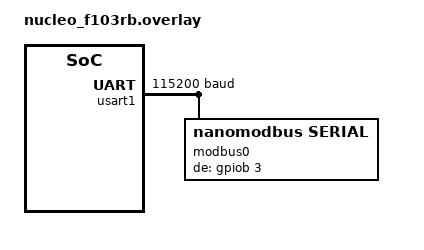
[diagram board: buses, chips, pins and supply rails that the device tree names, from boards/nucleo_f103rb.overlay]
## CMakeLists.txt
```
cmake_minimum_required(VERSION 3.20.0)

list(APPEND ZEPHYR_EXTRA_MODULES ${CMAKE_CURRENT_SOURCE_DIR}/../..)

find_package(Zephyr REQUIRED HINTS $ENV{ZEPHYR_BASE})
project(nanomodbus_server_rtu)
target_sources(app PRIVATE src/main.c)
```

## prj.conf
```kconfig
CONFIG_NANOMODBUS=y
CONFIG_NANOMODBUS_SERVER=y
CONFIG_NANOMODBUS_SERVER_RTU=y
CONFIG_NANOMODBUS_TRANSPORT_SERIAL=y
CONFIG_SERIAL=y
CONFIG_GPIO=y
CONFIG_LOG=y
CONFIG_SHELL=y
CONFIG_SHELL_BACKENDS=y
CONFIG_SHELL_BACKEND_SERIAL=y
CONFIG_NANOMODBUS_SHELL=y
```

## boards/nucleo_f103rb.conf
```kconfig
# Copyright (c) 2026 nanoMODBUS Contributors
# SPDX-License-Identifier: MIT

# The STM32F1 UART nodes expose no DMA channels, so the asynchronous receive
# path is unavailable and the server runs on interrupt-driven reception. There
# is no data cache on Cortex-M3 either, so none of the H743 DMA settings apply.
CONFIG_UART_INTERRUPT_DRIVEN=y
CONFIG_UART_USE_RUNTIME_CONFIGURE=y
```

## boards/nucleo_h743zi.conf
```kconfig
# Copyright (c) 2026 nanoMODBUS Contributors
# SPDX-License-Identifier: MIT

CONFIG_UART_INTERRUPT_DRIVEN=y
CONFIG_UART_ASYNC_API=y
CONFIG_UART_USE_RUNTIME_CONFIGURE=y

# The asynchronous RX buffers live in the transport structure (.bss). The STM32
# UART driver rejects DMA buffers that are not in a non-cacheable region, so
# disable the data cache here to exercise the DMA receive path. Set this back to
# y and let select_rx_mode() fall back to IRQ reception if the application must
# keep the cache enabled.
CONFIG_DCACHE=n
```

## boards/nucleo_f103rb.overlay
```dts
/*
 * Copyright (c) 2026 nanoMODBUS Contributors
 * SPDX-License-Identifier: MIT
 *
 * USART1 is the Modbus RTU bus on PA9 (TX) / PA10 (RX). This board devicetree
 * already muxes those pins at 115200, and it keeps the console and the shell
 * backend on USART2 (PA2/PA3), the ST-LINK virtual COM port, so the two do not
 * conflict. Only the Modbus child node has to be added here.
 *
 * PB3 drives the RS-485 transceiver RE/DE pin in software GPIO mode.
 * Because RE (active-low) and DE (active-high) are tied together on this
 * transceiver, a single active-high GPIO acts as both: high = TX, low = RX.
 *
 * PB3 is JTDO out of reset, so it cannot act as a GPIO while the full SWJ
 * configuration is selected. "jtag-disable" writes SWJ_CFG = 010, which
 * releases PB3, PB4 and PA15 while keeping SWD (PA13/PA14) available for
 * flashing and debugging.
 *
 * The STM32F1 UART nodes expose no DMA channels, so reception is explicitly
 * interrupt driven instead of the asynchronous path used on the H743.
 */

/ {
	aliases {
		modbus-uart = &usart1;
		modbus0 = &modbus0;
	};
};

&pinctrl {
	swj-cfg = "jtag-disable";
};

&usart1 {
	current-speed = <115200>;
	status = "okay";

	modbus0: modbus0 {
		compatible = "nanomodbus,serial";
		status = "okay";
		#address-cells = <1>;
		#size-cells = <0>;
		de-gpios = <&gpiob 3 GPIO_ACTIVE_HIGH>;
		de-mode = "auto";
		rx-mode = "irq";

		server_node: slave@1 {
			reg = <1>;
		};
	};
};
```

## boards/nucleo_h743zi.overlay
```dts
/*
 * Copyright (c) 2026 nanoMODBUS Contributors
 * SPDX-License-Identifier: MIT
 *
 * USART2 on the Nucleo-H743ZI is wired to the ST-LINK virtual COM port.
 * PD4 drives the RS-485 transceiver RE/DE pin in software GPIO mode.
 * Because RE (active-low) and DE (active-high) are tied together on this
 * transceiver, a single active-high GPIO acts as both: high = TX, low = RX.
 *
 * The two DMA channels let the transport use NMBS_Z_SERIAL_RX_ASYNC.
 */

/ {
	aliases {
		modbus-uart = &usart2;
		modbus0 = &modbus0;
	};
};

&usart2 {
	pinctrl-0 = <&usart2_tx_pd5 &usart2_rx_pd6>;
	pinctrl-names = "default";
	current-speed = <115200>;
	dmas = <&dmamux1 2 44 STM32_DMA_PERIPH_TX>,
	       <&dmamux1 3 43 STM32_DMA_PERIPH_RX>;
	dma-names = "tx", "rx";
	status = "okay";

	modbus0: modbus0 {
		compatible = "nanomodbus,serial";
		status = "okay";
		#address-cells = <1>;
		#size-cells = <0>;
		de-gpios = <&gpiod 4 GPIO_ACTIVE_HIGH>;
		de-mode = "auto";
		rx-mode = "auto";

		server_node: slave@1 {
			reg = <1>;
		};
	};
};

&dma1 {
	status = "okay";
};

&dma2 {
	status = "okay";
};

&dmamux1 {
	status = "okay";
};
```

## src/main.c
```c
/*
 * Copyright (c) 2026 nanoMODBUS Contributors
 * SPDX-License-Identifier: MIT
 */

#include <zephyr/device.h>
#include <zephyr/drivers/gpio.h>
#include <zephyr/drivers/uart.h>
#include <zephyr/kernel.h>
#include <zephyr/logging/log.h>
#include <zephyr/nanomodbus/nanomodbus_z.h>
#include <zephyr/nanomodbus/nanomodbus_z_serial.h>
#ifdef CONFIG_NANOMODBUS_SHELL
#include <zephyr/nanomodbus/nanomodbus_z_shell.h>
#endif

LOG_MODULE_REGISTER(server_rtu_app, CONFIG_NANOMODBUS_LOG_LEVEL);

#define HOLDING_REG_COUNT 16
#define COIL_COUNT 16

static uint16_t holding_registers[HOLDING_REG_COUNT];
static uint8_t coils[(COIL_COUNT + 7) / 8];

static nmbs_error handle_read_holding_registers(uint16_t address, uint16_t quantity, uint16_t* registers_out,
                                                uint8_t unit_id, void* arg) {
    ARG_UNUSED(unit_id);
    ARG_UNUSED(arg);

    LOG_INF("Read holding registers: addr=%u, qty=%u, unit_id=%u", address, quantity, unit_id);
    if (address + quantity > HOLDING_REG_COUNT) {
        return NMBS_EXCEPTION_ILLEGAL_DATA_ADDRESS;
    }

    for (uint16_t i = 0; i < quantity; i++) {
        registers_out[i] = holding_registers[address + i];
    }
    return NMBS_ERROR_NONE;
}

static nmbs_error handle_write_single_register(uint16_t address, uint16_t value, uint8_t unit_id, void* arg) {
    ARG_UNUSED(unit_id);
    ARG_UNUSED(arg);

    LOG_INF("Write single register: addr=%u, val=0x%04X, unit_id=%u", address, value, unit_id);
    if (address >= HOLDING_REG_COUNT) {
        return NMBS_EXCEPTION_ILLEGAL_DATA_ADDRESS;
    }

    holding_registers[address] = value;
    return NMBS_ERROR_NONE;
}

static nmbs_error handle_write_multiple_registers(uint16_t address, uint16_t quantity, const uint16_t* registers,
                                                  uint8_t unit_id, void* arg) {
    ARG_UNUSED(unit_id);
    ARG_UNUSED(arg);

    LOG_INF("Write multiple registers: addr=%u, qty=%u, unit_id=%u", address, quantity, unit_id);
    if (address + quantity > HOLDING_REG_COUNT) {
        return NMBS_EXCEPTION_ILLEGAL_DATA_ADDRESS;
    }

    for (uint16_t i = 0; i < quantity; i++) {
        holding_registers[address + i] = registers[i];
    }
    return NMBS_ERROR_NONE;
}

static nmbs_error handle_read_coils(uint16_t address, uint16_t quantity, nmbs_bitfield coils_out, uint8_t unit_id,
                                    void* arg) {
    ARG_UNUSED(unit_id);
    ARG_UNUSED(arg);

    LOG_INF("Read coils: addr=%u, qty=%u, unit_id=%u", address, quantity, unit_id);
    if (address + quantity > COIL_COUNT) {
        return NMBS_EXCEPTION_ILLEGAL_DATA_ADDRESS;
    }

    for (uint16_t i = 0; i < quantity; i++) {
        uint16_t idx = address + i;
        bool state = (coils[idx / 8] & (1 << (idx % 8))) != 0;
        nmbs_bitfield_write(coils_out, i, state);
    }
    return NMBS_ERROR_NONE;
}

static nmbs_error handle_write_single_coil(uint16_t address, bool value, uint8_t unit_id, void* arg) {
    ARG_UNUSED(unit_id);
    ARG_UNUSED(arg);

    LOG_INF("Write single coil: addr=%u, val=%d, unit_id=%u", address, value, unit_id);
    if (address >= COIL_COUNT) {
        return NMBS_EXCEPTION_ILLEGAL_DATA_ADDRESS;
    }

    if (value) {
        coils[address / 8] |= (1 << (address % 8));
    }
    else {
        coils[address / 8] &= ~(1 << (address % 8));
    }
    return NMBS_ERROR_NONE;
}

#if DT_NODE_EXISTS(DT_NODELABEL(modbus0))
#define MODBUS_NODE DT_NODELABEL(modbus0)
#elif DT_HAS_COMPAT_STATUS_OKAY(nanomodbus_serial)
#define MODBUS_NODE DT_COMPAT_GET_ANY_STATUS_OKAY(nanomodbus_serial)
#elif DT_HAS_COMPAT_STATUS_OKAY(zephyr_modbus_serial)
#define MODBUS_NODE DT_COMPAT_GET_ANY_STATUS_OKAY(zephyr_modbus_serial)
#elif DT_HAS_ALIAS(modbus_uart)
#define MODBUS_NODE DT_ALIAS(modbus_uart)
#elif DT_NODE_EXISTS(DT_CHOSEN(zephyr_console))
#define MODBUS_NODE DT_CHOSEN(zephyr_console)
#elif DT_NODE_EXISTS(DT_NODELABEL(usart3))
#define MODBUS_NODE DT_NODELABEL(usart3)
#else
#define MODBUS_NODE DT_INVALID_NODE
#endif

#if DT_NODE_EXISTS(DT_NODELABEL(server_node))
#define SERVER_SLAVE_ADDR NMBS_Z_DT_SLAVE_ID(DT_NODELABEL(server_node))
#else
#define SERVER_SLAVE_ADDR 1
#endif

static const char* rx_mode_name(nmbs_z_serial_rx_mode_t mode) {
    switch (mode) {
        case NMBS_Z_SERIAL_RX_IRQ:
            return "IRQ";
        case NMBS_Z_SERIAL_RX_ASYNC:
            return "async/DMA";
        case NMBS_Z_SERIAL_RX_EXTERNAL:
        default:
            return "external polling";
    }
}

int main(void) {
    LOG_INF("nanoMODBUS RTU Server Sample Application Starting...");

    for (int i = 0; i < HOLDING_REG_COUNT; i++) {
        holding_registers[i] = (uint16_t) (0x1000 + i);
    }

#if DT_NODE_EXISTS(MODBUS_NODE)
    nmbs_z_serial_transport_config_t config = NMBS_Z_SERIAL_TRANSPORT_CONFIG_DT(MODBUS_NODE);
#else
    nmbs_z_serial_transport_config_t config = {0};
#endif

    if (!config.uart_dev || !device_is_ready(config.uart_dev)) {
        LOG_WRN("UART device not ready or not found; running in simulated idle loop");
    }

    nmbs_callbacks cbs = {
            .read_holding_registers = handle_read_holding_registers,
            .write_single_register = handle_write_single_register,
            .write_multiple_registers = handle_write_multiple_registers,
            .read_coils = handle_read_coils,
            .write_single_coil = handle_write_single_coil,
    };

    /* Static storage: the instance owns a workqueue thread stack. */
    static nmbs_z_server_rtu_t server;

    int ret = nmbs_z_server_rtu_init(&server, &config, &cbs, SERVER_SLAVE_ADDR);
    if (ret != 0) {
        LOG_ERR("Failed to initialize RTU Server: %d", ret);
        return ret;
    }

#ifdef CONFIG_NANOMODBUS_SHELL
    ret = nmbs_z_shell_register_server_rtu("srv0", &server);
    if (ret != 0) {
        LOG_WRN("Failed to register server with shell: %d", ret);
    }
    else {
        LOG_INF("Registered server 'srv0' with shell CLI");
    }
#endif

    ret = nmbs_z_server_rtu_start(&server);
    if (ret != 0) {
        LOG_ERR("Failed to start RTU Server: %d", ret);
        return ret;
    }

    LOG_INF("Modbus RTU Server started (slave ID %u, %u bps, RX %s)", (unsigned int) SERVER_SLAVE_ADDR,
            config.baud_rate, rx_mode_name(config.rx_mode));

    if (config.rx_mode == NMBS_Z_SERIAL_RX_EXTERNAL && config.uart_dev && device_is_ready(config.uart_dev)) {
        LOG_INF("Polling UART for incoming Modbus frames...");
        while (1) {
            unsigned char c;
            if (uart_poll_in(config.uart_dev, &c) == 0) {
                nmbs_z_server_rtu_rx_byte(&server, (uint8_t) c);
            }
            else {
                k_sleep(K_MSEC(1));
            }
        }
    }

    while (1) {
        k_sleep(K_SECONDS(1));
    }

    return 0;
}
```
